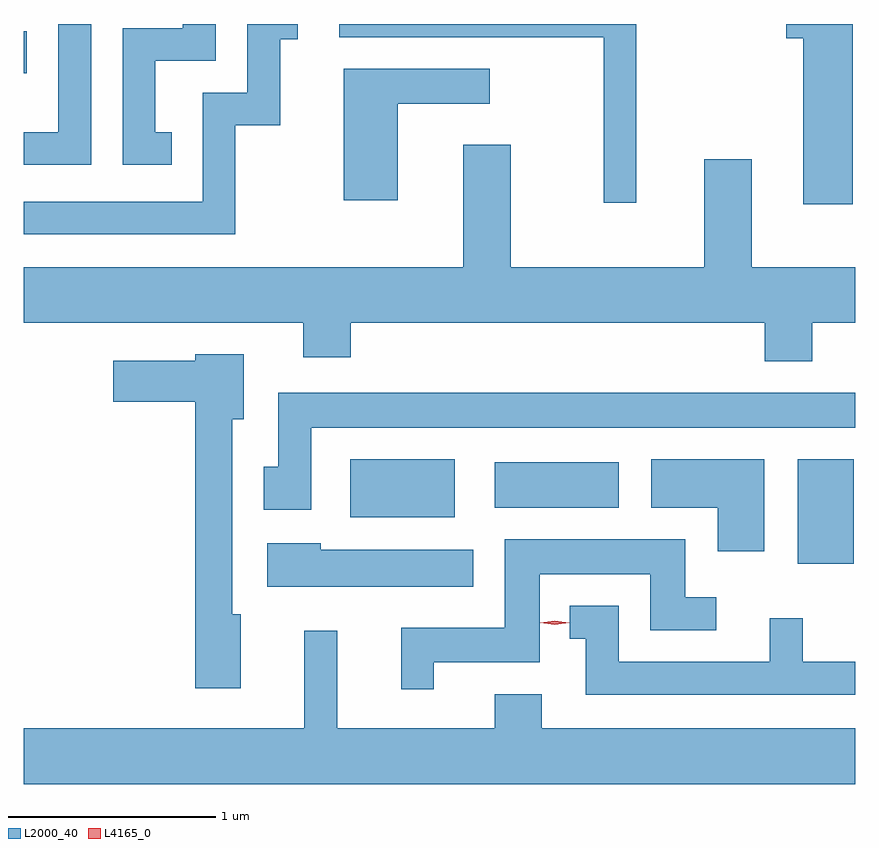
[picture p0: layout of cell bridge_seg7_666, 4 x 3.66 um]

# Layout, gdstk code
import gdstk
lib = gdstk.Library(unit=1e-6, precision=1e-09)
def R(c, l, rs):  # rectangles x0, y0, x1, y1
    for r in rs: c.add(gdstk.rectangle(r[:2], r[2:], *l))
def P(c, l, *ps):  # polygons
    for p in ps: c.add(gdstk.Polygon(p, *l))
L2000_40 = (2000, 40)
L4165_0 = (4165, 0)

bridge_seg7_666 = lib.new_cell('bridge_seg7_666')
R(bridge_seg7_666, L2000_40, [(951.531,1675.416,951.799,1675.919), (949.376,1675.641,949.879,1675.919), (950.071,1675.686,950.669,1675.904), (947.806,1677.776,947.819,1677.979)])
P(bridge_seg7_666, L2000_40, [(948.824,1677.526),(949.039,1677.526),(949.039,1677.941),(949.123,1677.941),(949.123,1678.014),(948.881,1678.014),(948.881,1677.684),(948.666,1677.684),(948.666,1677.159),(947.806,1677.159),(947.806,1677.001),(948.824,1677.001)],
  [(950.754,1678.014),(949.323,1678.014),(949.323,1677.951),(950.596,1677.951),(950.596,1677.153),(950.754,1677.153)],
  [(948.129,1678.014),(947.971,1678.014),(947.971,1677.494),(947.806,1677.494),(947.806,1677.336),(948.129,1677.336)],
  [(948.518,1677.494),(948.439,1677.494),(948.439,1677.836),(948.729,1677.836),(948.729,1678.014),(948.571,1678.014),(948.571,1677.994),(948.281,1677.994),(948.281,1677.336),(948.518,1677.336)],
  [(951.794,1678.014),(951.476,1678.014),(951.476,1677.946),(951.556,1677.946),(951.556,1677.146),(951.794,1677.146)],
  [(949.604,1677.631),(950.048,1677.631),(950.048,1677.799),(949.346,1677.799),(949.346,1677.166),(949.604,1677.166)],
  [(951.599,1676.576),(951.806,1676.576),(951.806,1676.844),(951.309,1676.844),(951.309,1677.364),(951.081,1677.364),(951.081,1676.844),(950.149,1676.844),(950.149,1677.434),(949.921,1677.434),(949.921,1676.844),(947.806,1676.844),(947.806,1676.576),(949.151,1676.576),(949.151,1676.411),(949.379,1676.411),(949.379,1676.576),(951.371,1676.576),(951.371,1676.391),(951.599,1676.391)],
  [(948.849,1675.174),(948.809,1675.174),(948.809,1676.111),(948.864,1676.111),(948.864,1676.424),(948.631,1676.424),(948.631,1676.394),(948.236,1676.394),(948.236,1676.196),(948.631,1676.196),(948.631,1674.816),(948.849,1674.816)],
  [(949.189,1676.071),(951.806,1676.071),(951.806,1676.239),(949.031,1676.239),(949.031,1675.884),(948.961,1675.884),(948.961,1675.676),(949.189,1675.676)],
  [(951.369,1675.919),(950.826,1675.919),(950.826,1675.686),(951.146,1675.686),(951.146,1675.476),(951.369,1675.476)],
  [(949.779,1674.941),(950.289,1674.941),(950.289,1675.366),(950.821,1675.366),(950.821,1675.096),(951.138,1675.096),(951.138,1675.254),(950.989,1675.254),(950.989,1675.534),(950.121,1675.534),(950.121,1675.109),(949.621,1675.109),(949.621,1674.813),(949.779,1674.813)],
  [(949.969,1675.484),(949.234,1675.484),(949.234,1675.514),(948.976,1675.514),(948.976,1675.306),(949.969,1675.306)],
  [(951.806,1674.944),(951.554,1674.944),(951.554,1675.153),(951.396,1675.153),(951.396,1674.944),(950.669,1674.944),(950.669,1675.214),(950.433,1675.214),(950.433,1675.056),(950.511,1675.056),(950.511,1674.786),(951.806,1674.786)],
  [(951.806,1674.624),(950.299,1674.624),(950.299,1674.789),(950.071,1674.789),(950.071,1674.624),(949.314,1674.624),(949.314,1675.093),(949.156,1675.093),(949.156,1674.624),(947.806,1674.624),(947.806,1674.356),(951.806,1674.356)])
P(bridge_seg7_666, L4165_0, [(950.361,1675.122),(950.292,1675.132),(950.292,1675.132),(950.292,1675.133),(950.361,1675.142),(950.431,1675.133),(950.431,1675.132),(950.431,1675.132)])

lib.write_gds('bridge_seg7_666.gds')
